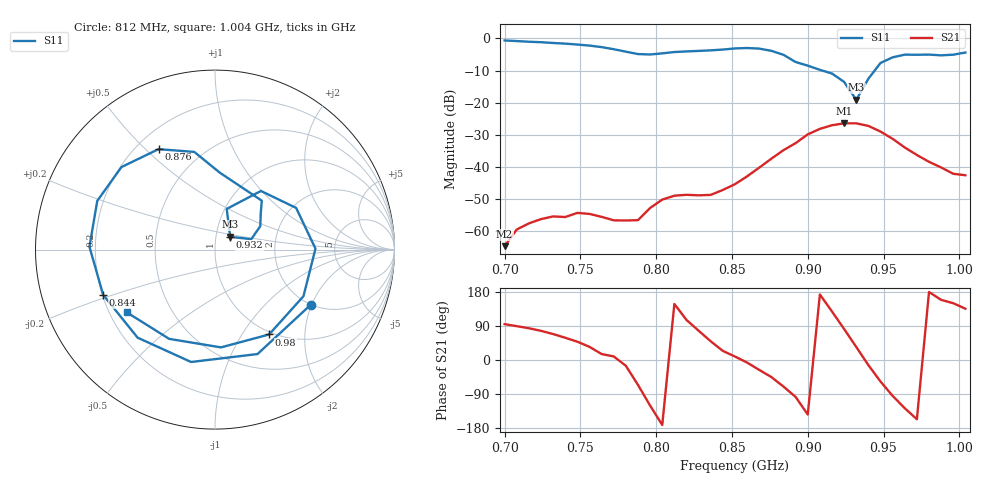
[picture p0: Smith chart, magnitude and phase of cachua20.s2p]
# Hz S RI R 50
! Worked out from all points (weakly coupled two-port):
!   39 points, 700 MHz to 1.004 GHz, reference 50 ohm
!   highest |S21| = -26.46 dB at 924 MHz (marker M1); lowest = -64.8 dB at 700 MHz (marker M2)
!   lowest |S11| = -19.1 dB at 932 MHz (marker M3), VSWR 1.25, Z = 58.6 + j8.46 ohm
!   |S11| at or under -10 dB: 909.5 MHz to 944.2 MHz (34.63 MHz wide, 3.74 % of centre)
!   S12 and S22 are empty: the file has one direction only
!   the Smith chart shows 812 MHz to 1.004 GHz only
!   S11 on the Smith chart (normalised r, x): 812 MHz: 1.98, -1.97; 844 MHz: 0.20, -0.19; 876 MHz: 0.29, +0.55; 932 MHz: 1.17, +0.17; 980 MHz: 0.96, -1.33; 1.004 GHz: 0.27, -0.30
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7e8  0.7692 0.5258  -4.61e-05 0.000575  0 0  0 0
7.24e8  0.8354 -0.2606  0.000344 0.00148  0 0  0 0
7.4e8  0.4442 -0.703  0.000854 0.0014  0 0  0 0
7.56e8  -0.1994 -0.7489  0.00151 0.00104  0 0  0 0
7.72e8  -0.6548 -0.1853  0.00144 0.000237  0 0  0 0
7.8e8  -0.5759 0.2362  0.0014 -0.000382  0 0  0 0
7.88e8  -0.2154 0.5296  0.000602 -0.00134  0 0  0 0
7.96e8  0.2696 0.494  -0.00115 -0.00196  0 0  0 0
8.04e8  0.5702 0.1348  -0.00304 -0.000452  0 0  0 0
8.12e8  0.5325 -0.308  -0.00299 0.00188  0 0  0 0
8.28e8  -0.1333 -0.6262  0.000786 0.00349  0 0  0 0
8.44e8  -0.623 -0.2525  0.00397 0.00176  0 0  0 0
8.52e8  -0.6995 0.0161  0.00527 0.000848  0 0  0 0
8.76e8  -0.3148 0.5596  0.00943 -0.00945  0 0  0 0
9e8  0.2606 0.2727  -0.0258 -0.0189  0 0  0 0
9.08e8  0.2548 0.2005  -0.0387 0.00483  0 0  0 0
9.24e8  0.202 0.058  0.00686 0.047  0 0  0 0
9.32e8  0.0845 0.0713  0.0392 0.0268  0 0  0 0
9.56e8  0.452 0.2323  -0.00224 -0.0271  0 0  0 0
9.64e8  0.5598 0.00533  -0.0121 -0.0159  0 0  0 0
9.8e8  0.3015 -0.4728  -0.0119 0.00012  0 0  0 0
1.004e9  -0.4923 -0.3491  -0.00523 0.00518  0 0  0 0
